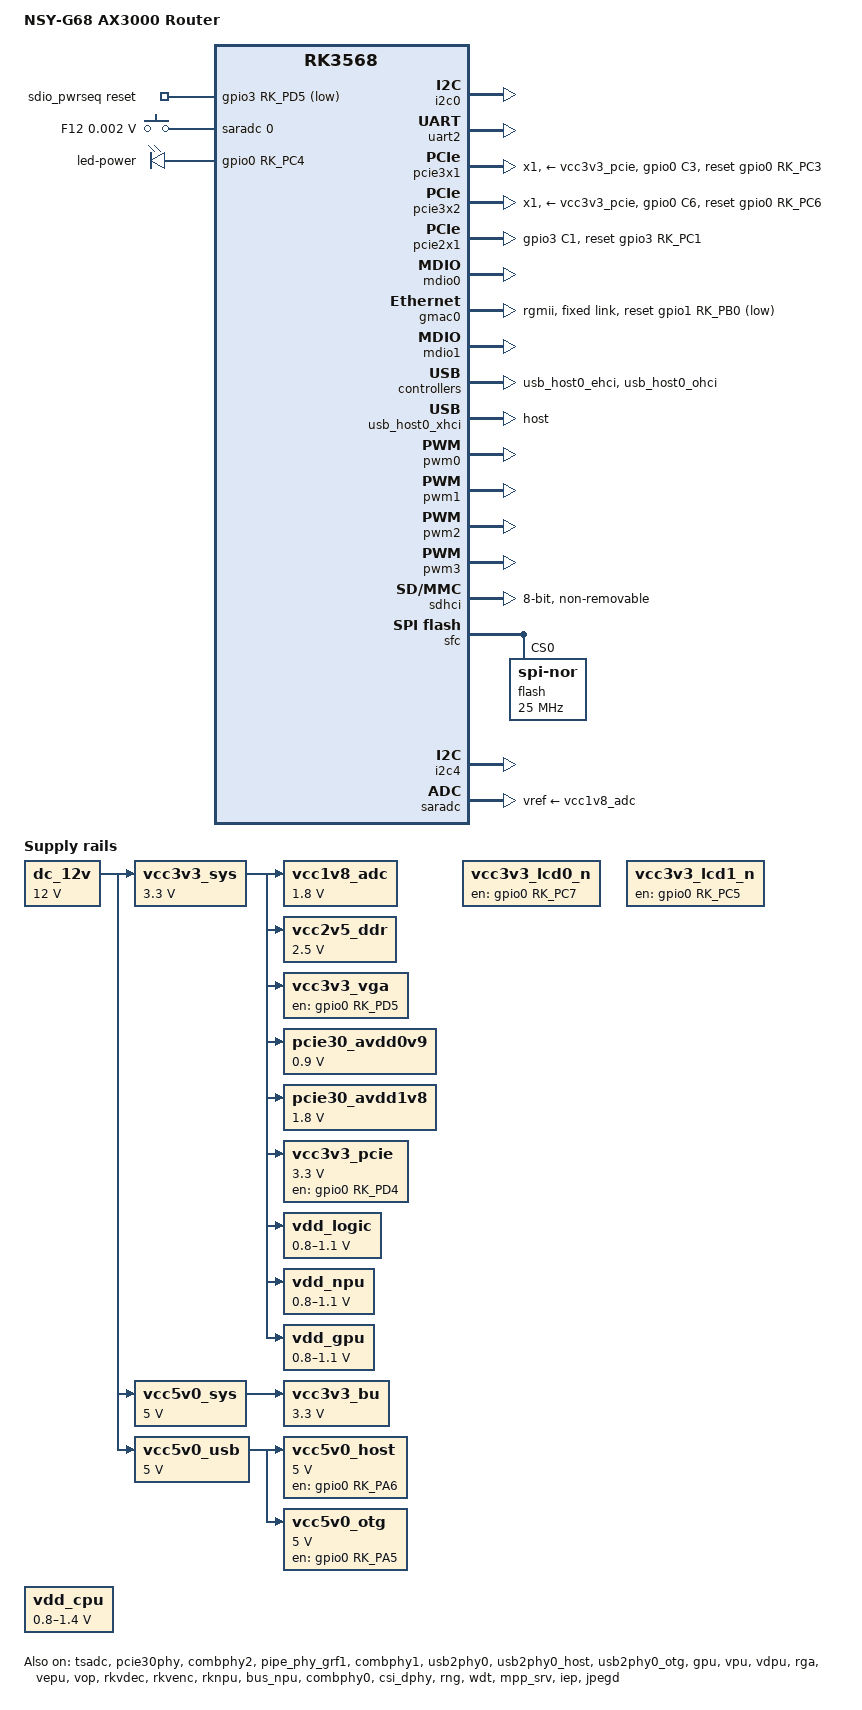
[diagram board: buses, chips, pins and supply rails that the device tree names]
// SPDX-License-Identifier: (GPL-2.0+ OR MIT)

/dts-v1/;

#include <dt-bindings/gpio/gpio.h>
#include <dt-bindings/pwm/pwm.h>
#include <dt-bindings/leds/common.h>
#include <dt-bindings/input/input.h>
#include <dt-bindings/soc/rockchip,vop2.h>
#include <dt-bindings/pinctrl/rockchip.h>
#include <rockchip/rk3568.dtsi>
#include "rk3568-ramoops.dtsi"
#include "rk3568-vngpu.dtsi"

/delete-node/ &gpu_opp_table;
/delete-node/ &rkvdec_opp_table;
/delete-node/ &rkvenc_opp_table;
/delete-node/ &npu_opp_table;
/delete-node/ &bus_npu_opp_table;

/ {
	model = "NSY-G68 AX3000 Router";
	compatible = "nsy,g68-plus", "rockchip,rk3568";

	aliases {
		ethernet0 = &gmac0;
		ethernet1 = &gmac1;
		mmc0 = &sdhci;
	};

	chosen: chosen {
		stdout-path = "serial2:1500000n8";
		bootargs = "earlycon=uart8250,mmio32,0xfe660000 console=ttyFI0 rootwait";
	};

reserved-memory {
		#address-cells = <2>;
		#size-cells = <2>;
		ranges;

		/* 1. 公共大池子：维持 512MB，作为系统默认，保证 SSD/WiFi 性能 */
		linux,cma {
			compatible = "shared-dma-pool";
			reusable;
			size = <0x0 0x20000000>; /* 512MB */
			linux,cma-default; /* 系统默认都会来这里抢 */
			alloc-ranges = <0x0 0x00000000 0x0 0xffffffff>;
		};

		/* 2. 多媒体专属特区：划出 128MB-256MB，不设为 default，防止被 SSD 抢走 */
		mpp_reserved: mpp-reserved {
			compatible = "shared-dma-pool";
			reusable;
			size = <0x0 0x10000000>; /* 256MB */
			alloc-ranges = <0x0 0x00000000 0x0 0xffffffff>;
		};
	};

	fiq-debugger {
		compatible = "rockchip,fiq-debugger";
		rockchip,serial-id = <2>;
		rockchip,wake-irq = <0>;
		/* If enable uart uses irq instead of fiq */
		rockchip,irq-mode-enable = <1>;
		rockchip,baudrate = <1500000>;  /* Only 115200 and 1500000 */
		interrupts = <GIC_SPI 252 IRQ_TYPE_LEVEL_LOW>;
		pinctrl-names = "default";
		pinctrl-0 = <&uart2m0_xfer>;
		status = "okay";
	};

	debug: debug@fd904000 {
		compatible = "rockchip,debug";
		reg = <0x0 0xfd904000 0x0 0x1000>,
			<0x0 0xfd905000 0x0 0x1000>,
			<0x0 0xfd906000 0x0 0x1000>,
			<0x0 0xfd907000 0x0 0x1000>;
	};

	dc_12v: dc-12v {
		compatible = "regulator-fixed";
		regulator-name = "dc_12v";
		regulator-always-on;
		regulator-boot-on;
		regulator-min-microvolt = <12000000>;
		regulator-max-microvolt = <12000000>;
	};

	vcc3v3_sys: vcc3v3-sys {
		compatible = "regulator-fixed";
		regulator-name = "vcc3v3_sys";
		regulator-always-on;
		regulator-boot-on;
		regulator-min-microvolt = <3300000>;
		regulator-max-microvolt = <3300000>;
		vin-supply = <&dc_12v>;
	};

	vcc5v0_sys: vcc5v0-sys {
		compatible = "regulator-fixed";
		regulator-name = "vcc5v0_sys";
		regulator-always-on;
		regulator-boot-on;
		regulator-min-microvolt = <5000000>;
		regulator-max-microvolt = <5000000>;
		vin-supply = <&dc_12v>;
	};

	vcc5v0_usb: vcc5v0-usb {
		compatible = "regulator-fixed";
		regulator-name = "vcc5v0_usb";
		regulator-always-on;
		regulator-boot-on;
		regulator-min-microvolt = <5000000>;
		regulator-max-microvolt = <5000000>;
		vin-supply = <&dc_12v>;
	};

	vcc5v0_host: vcc5v0-host-regulator {
		compatible = "regulator-fixed";
		regulator-name = "vcc5v0_host";
		regulator-boot-on;
		regulator-always-on;
		regulator-min-microvolt = <5000000>;
		regulator-max-microvolt = <5000000>;
		enable-active-high;
		gpio = <&gpio0 RK_PA6 GPIO_ACTIVE_HIGH>;
		vin-supply = <&vcc5v0_usb>;
		pinctrl-names = "default";
		pinctrl-0 = <&vcc5v0_host_en>;
	};

	vcc5v0_otg: vcc5v0-otg-regulator {
		compatible = "regulator-fixed";
		regulator-name = "vcc5v0_otg";
		regulator-min-microvolt = <5000000>;
		regulator-max-microvolt = <5000000>;
		enable-active-high;
		regulator-boot-on;
		regulator-always-on;
		gpio = <&gpio0 RK_PA5 GPIO_ACTIVE_HIGH>;
		vin-supply = <&vcc5v0_usb>;
		pinctrl-names = "default";
		pinctrl-0 = <&vcc5v0_otg_en>;
	};

	vcc3v3_lcd0_n: vcc3v3-lcd0-n {
		compatible = "regulator-fixed";
		regulator-name = "vcc3v3_lcd0_n";
		regulator-boot-on;
		gpio = <&gpio0 RK_PC7 GPIO_ACTIVE_HIGH>;
		enable-active-high;
		pinctrl-0 = <&vcc3v3_lcd0_n_en>;
		pinctrl-names = "default";
		regulator-state-mem {
			regulator-off-in-suspend;
		};

	};

	vcc3v3_lcd1_n: vcc3v3-lcd1-n {
		compatible = "regulator-fixed";
		regulator-name = "vcc3v3_lcd1_n";
		regulator-boot-on;
		gpio = <&gpio0 RK_PC5 GPIO_ACTIVE_HIGH>;
		enable-active-high;
		pinctrl-0 = <&vcc3v3_lcd1_n_en>;
		pinctrl-names = "default";
		regulator-state-mem {
			regulator-off-in-suspend;
		};

	};

	sdio_pwrseq: sdio-pwrseq {
		compatible = "mmc-pwrseq-simple";
		/* clocks = <&rk809 1>; */
		/* clock-names = "ext_clock"; */
		pinctrl-names = "default";
		pinctrl-0 = <&wifi_enable_h>;
		post-power-on-delay-ms = <200>;
		reset-gpios = <&gpio3 RK_PD5 GPIO_ACTIVE_LOW>;
	};

	vcc1v8_adc: vcc1v8-adc {
		compatible = "regulator-fixed";
		regulator-name = "vcc1v8_adc";
		regulator-always-on;
		regulator-boot-on;
		regulator-min-microvolt = <1800000>;
		regulator-max-microvolt = <1800000>;
		vin-supply = <&vcc3v3_sys>;
	};

	vcc2v5_ddr: vcc2v5-ddr {
		compatible = "regulator-fixed";
		regulator-name = "vcc2v5-sys";
		regulator-always-on;
		regulator-boot-on;
		regulator-min-microvolt = <2500000>;
		regulator-max-microvolt = <2500000>;
		vin-supply = <&vcc3v3_sys>;
	};

	vcc3v3_vga: vcc3v3-vga {
		compatible = "regulator-fixed";
		regulator-name = "vcc3v3_vga";
		regulator-always-on;
		regulator-boot-on;
		gpio = <&gpio0 RK_PD5 GPIO_ACTIVE_HIGH>;
		pinctrl-0 = <&vcc3v3_vga_en>;
		pinctrl-names = "default";
		enable-active-high;
		vin-supply = <&vcc3v3_sys>;
	};

	pcie30_avdd0v9: pcie30-avdd0v9 {
		compatible = "regulator-fixed";
		regulator-name = "pcie30_avdd0v9";
		regulator-always-on;
		regulator-boot-on;
		regulator-min-microvolt = <900000>;
		regulator-max-microvolt = <900000>;
		vin-supply = <&vcc3v3_sys>;
	};

	pcie30_avdd1v8: pcie30-avdd1v8 {
		compatible = "regulator-fixed";
		regulator-name = "pcie30_avdd1v8";
		regulator-always-on;
		regulator-boot-on;
		regulator-min-microvolt = <1800000>;
		regulator-max-microvolt = <1800000>;
		vin-supply = <&vcc3v3_sys>;
	};

	vcc3v3_pcie: vcc3v3-pcie {
		compatible = "regulator-fixed";
		regulator-name = "vcc3v3_pcie";
		regulator-always-on;
		regulator-boot-on;
		regulator-min-microvolt = <3300000>;
		regulator-max-microvolt = <3300000>;
		enable-active-high;
		gpio = <&gpio0 RK_PD4 GPIO_ACTIVE_HIGH>;
		pinctrl-0 = <&vcc3v3_pcie_en>;
		pinctrl-names = "default";
		startup-delay-us = <5000>;
		vin-supply = <&vcc3v3_sys>;
	};

	vcc3v3_bu: c3v3_buvcc3v3-bu {
		compatible = "regulator-fixed";
		regulator-name = "vcc3v3_bu";
		regulator-always-on;
		regulator-boot-on;
		regulator-min-microvolt = <3300000>;
		regulator-max-microvolt = <3300000>;
		vin-supply = <&vcc5v0_sys>;
	};

	vdd_logic: vdd-logic {
		compatible = "pwm-regulator";
		rockchip,pwm_id = <2>;
		pwms = <&pwm2 0 25000 1>;
		/* pwm-dutycycle-range = <0 100>; */
		regulator-name = "vdd_logic";
		regulator-min-microvolt = <800000>;
		regulator-max-microvolt = <1100000>;
		regulator-init-microvolt = <900000>;
		regulator-settling-time-up-us = <250>;
		regulator-enable-ramp-delay = <300>;

		voltage-table = <800000 0>, <900000 8250>, <1000000 16500>, <1100000 25000>;
		regulator-ramp-delay = <1000>;
		regulator-always-on;
		regulator-boot-on;
		vin-supply = <&vcc3v3_sys>;
	};

	vdd_npu: vdd-npu {
		compatible = "pwm-regulator";
		rockchip,pwm_id = <1>;
		pwms = <&pwm1 0 25000 1>;
		/* pwm-dutycycle-range = <0 100>; */
		regulator-name = "vdd_npu";
		regulator-compatible = "vdd_npu";
		regulator-min-microvolt = <800000>;
		regulator-max-microvolt = <1100000>;
		regulator-init-microvolt = <1000000>;
		regulator-settling-time-up-us = <250>;
		regulator-enable-ramp-delay = <300>;

		voltage-table = <800000 0>, <900000 8250>, <1000000 16500>, <1100000 25000>;
		regulator-ramp-delay = <1000>;
		regulator-always-on;
		regulator-boot-on;
		vin-supply = <&vcc3v3_sys>;
	};

	vdd_gpu: vdd-gpu {
		compatible = "pwm-regulator";
		rockchip,pwm_id = <3>;
		pwms = <&pwm3 0 25000 1>;
		/* pwm-dutycycle-range = <0 100>; */
		regulator-name = "vdd_gpu";
		regulator-min-microvolt = <800000>;
		regulator-max-microvolt = <1100000>;
		regulator-init-microvolt = <1000000>;
		regulator-settling-time-up-us = <250>;
		regulator-enable-ramp-delay = <300>;
		voltage-table = <800000 0>, <900000 8250>, <1000000 16500>, <1100000 25000>;
		regulator-ramp-delay = <1000>;
		regulator-always-on;
		regulator-boot-on;
		vin-supply = <&vcc3v3_sys>;
	};

	vdd_cpu: vdd-cpu {
		compatible = "pwm-regulator";
		rockchip,pwm_id = <0>;
		pwms = <&pwm0 0 25000 1>;
		pwm-dutycycle-range = <0 100>;
		regulator-name = "vdd_cpu";
		regulator-min-microvolt = <800000>;
		regulator-max-microvolt = <1400000>;
		regulator-init-microvolt = <1150000>;
		regulator-settling-time-up-us = <250>;
		regulator-enable-ramp-delay = <300>;
		regulator-ramp-delay = <8000>;
		regulator-always-on;
		regulator-boot-on;
	};

	xpcs: syscon@fda00000 {
		compatible = "rockchip,rk3568-xpcs", "syscon";
		reg = <0x0 0xfda00000 0x0 0x200000>;
		status = "disabled";
	};

	gmac0_xpcsclk: xpcs-gmac0-clock {
		compatible = "fixed-clock";
		clock-frequency = <125000000>;
		clock-output-names = "clk_gmac0_xpcs_mii";
		#clock-cells = <0>;
	};

	gmac1_xpcsclk: xpcs-gmac1-clock {
		compatible = "fixed-clock";
		clock-frequency = <125000000>;
		clock-output-names = "clk_gmac1_xpcs_mii";
		#clock-cells = <0>;
	};

	adc_keys: adc-keys {
		compatible = "adc-keys";
		io-channels = <&saradc 0>;
		io-channel-names = "buttons";
		keyup-threshold-microvolt = <1800000>;
		poll-interval = <100>;
		status = "okay";
		recovery-key {
			label = "F12";
			linux,code = <KEY_F12>;
			press-threshold-microvolt = <1750>;
		};
	};

	leds {
		compatible = "gpio-leds";
		led-power {
			label = "led-power";
			default-state = "on";
			gpios = <&gpio0 RK_PC4 GPIO_ACTIVE_HIGH>;
			pinctrl-names = "default";
			pinctrl-0 = <&led_power_en>;
		};
	};

	rtlgsw@0 {
		compatible = "realtek,rtl8367s";
		realtek,mdio = <&mdio0>;
		mii-bus = <&mdio0>;
		realtek,id = <29>;
		phy-id = <29>;
		cpu_port = <7>;

		//txdelay, rxdelay, mode, ability.force_mode, ability.txpause, ability.rxpause, ability.link, ability.duplex, speed
		//sgmii,
		realtek,extif1 = <0 0 11 1 1 1 1 1 2>;
		//rgmii
		realtek,extif2 = <0 0 1 1 1 1 1 1 2>;
		status = "okay";
	};

	gpu_opp_table: opp-table-1 {
		compatible = "operating-points-v2";
		// mbist-vmin = <825000 900000 950000>;
		// nvmem-cells = <&gpu_leakage>, <&mbist_vmin>, <&gpu_opp_info>, <&specification_serial_number>, <&remark_spec_serial_number>;
		// nvmem-cell-names = "leakage", "mbist-vmin", "opp-info", "specification_serial_number", "remark_spec_serial_number";
		// rockchip,supported-hw;
		rockchip,max-volt = <1000000>;
		rockchip,temp-hysteresis = <5000>;
		// rockchip,low-temp = <0>;
		// rockchip,low-temp-adjust-volt = <0 800 50000>;
		#opp-table-cells = <1>;

		opp-200000000 {
			// opp-supported-hw = <0xfb 0xffff>;
			opp-hz = /bits/ 64 <200000000>;
			opp-microvolt = <800000>;
		};

		/* opp-300000000 {
			// opp-supported-hw = <0xfb 0xffff>;
			opp-hz = /bits/ 64 <300000000>;
			opp-microvolt = <850000>;
		}; */

		/* opp-400000000 {
			// opp-supported-hw = <0xfb 0xffff>;
			opp-hz = /bits/ 64 <400000000>;
			opp-microvolt = <850000>;
		}; */

		opp-600000000 {
			// opp-supported-hw = <0xfb 0xffff>;
			opp-hz = /bits/ 64 <600000000>;
			opp-microvolt = <900000>;
			// opp-microvolt-L0 = <900000 900000 1000000>;
			// opp-microvolt-L1 = <875000 875000 1000000>;
			// opp-microvolt-L2 = <850000 850000 1000000>;
			// opp-microvolt-L3 = <850000 850000 1000000>;
		};

		/* opp-700000000 {
			// opp-supported-hw = <0xfb 0xffff>;
			opp-hz = /bits/ 64 <700000000>;
			opp-microvolt = <950000>;
			// opp-microvolt-L0 = <950000 950000 1000000>;
			// opp-microvolt-L1 = <925000 925000 1000000>;
			// opp-microvolt-L2 = <900000 900000 1000000>;
			// opp-microvolt-L3 = <875000 875000 1000000>;
		}; */

		opp-800000000 {
			// opp-supported-hw = <0xf9 0xffff>;
			opp-hz = /bits/ 64 <800000000>;
			opp-microvolt = <1000000>;
			// opp-microvolt-L0 = <1000000 1000000 1000000>;
			// opp-microvolt-L1 = <975000 975000 1000000>;
			// opp-microvolt-L2 = <950000 950000 1000000>;
			// opp-microvolt-L3 = <925000 925000 1000000>;
		};
	};

	rkvdec_opp_table: rkvdec-opp-table {
		compatible = "operating-points-v2";
		// nvmem-cells = <&log_leakage>;
		// nvmem-cell-names = "leakage";
		#opp-table-cells = <1>;

		opp-297000000 {
			opp-hz = /bits/ 64 <297000000>;
			opp-microvolt = <900000>;
			// opp-microvolt-L0 = <900000>;
			// opp-microvolt-L1 = <875000>;
		};
		opp-400000000 {
			opp-hz = /bits/ 64 <400000000>;
			opp-microvolt = <1000000>;
		};
	};

	rkvenc_opp_table: rkvenc-opp-table {
		compatible = "operating-points-v2";
		// nvmem-cells = <&log_leakage>;
		// nvmem-cell-names = "leakage";
		#opp-table-cells = <1>;

		opp-297000000 {
			opp-hz = /bits/ 64 <297000000>;
			opp-microvolt = <900000>;
			// opp-microvolt-L0 = <900000>;
			// opp-microvolt-L1 = <875000>;
			// opp-microvolt-L2 = <875000>;
		};
		opp-400000000 {
			opp-hz = /bits/ 64 <400000000>;
			opp-microvolt = <1000000>;
			// opp-microvolt-L0 = <950000>;
			// opp-microvolt-L1 = <925000>;
			// opp-microvolt-L2 = <900000>;
		};
	};

	npu_opp_table: npu-opp-table {
		compatible = "operating-points-v2";

		/* mbist-vmin = <825000 900000 950000>; */
		/* nvmem-cells = <&npu_leakage>, <&mbist_vmin>, <&npu_opp_info>, <&specification_serial_number>, <&remark_spec_serial_number>; */
		/* nvmem-cell-names = "leakage", "mbist-vmin", "opp-info", "specification_serial_number", "remark_spec_serial_number"; */
		/* rockchip,supported-hw; */
		rockchip,max-volt = <1100000>;
		rockchip,init-freq = <400000000>;
		/* rockchip,temp-hysteresis = <5000>; */
		/* rockchip,low-temp = <0>; */
		/* rockchip,low-temp-adjust-volt = <0 1000 50000>; */
		/* rockchip,init-freq = <900000>; */
		#opp-table-cells = <1>;

		/* RK3568 && RK3568M npu OPPs */
		opp-200000000 {
			/* opp-supported-hw = <0xfb 0xffff>; */
			opp-hz = /bits/ 64 <200000000>;
			opp-microvolt = <800000>;
		};

		opp-400000000 {
			/* opp-supported-hw = <0xfb 0xffff>; */
			opp-hz = /bits/ 64 <400000000>;
			opp-microvolt = <900000>;
		};
		opp-600000000 {
			/* opp-supported-hw = <0xfb 0xffff>; */
			opp-hz = /bits/ 64 <600000000>;
			opp-microvolt = <1000000>;
		};


	};

	bus_npu_opp_table: bus-npu-opp-table {
		compatible = "operating-points-v2";
		/* nvmem-cells = <&log_leakage>; */
		/* nvmem-cell-names = "leakage"; */
		#opp-table-cells = <1>;
		opp-shared;

		opp-700000000 {
			opp-hz = /bits/ 64 <700000000>;
			opp-microvolt = <900000>;
			/* opp-microvolt-L0 = <900000>; */
			/* opp-microvolt-L1 = <875000>; */
			/* opp-microvolt-L2 = <875000>; */
		};
		opp-900000000 {
			opp-hz = /bits/ 64 <900000000>;
			opp-microvolt = <900000>;
		};

	};
};

&i2c0 {

	status = "okay";

	rk809: pmic@20 {
		compatible = "rockchip,rk809";
		reg = <0x20>;
		status = "disabled"; /* 增加这一行 */
		interrupt-parent = <&gpio0>;
		interrupts = <RK_PA3 IRQ_TYPE_LEVEL_LOW>;
		pinctrl-names = "default", "pmic-sleep", "pmic-power-off", "pmic-reset";
		pinctrl-0 = <&pmic_int>;
		/* 删掉 rockchip,system-power-controller; 否则关机报 I2C 错误 */
		wakeup-source;
		#clock-cells = <1>;
		clock-output-names = "rk808-clkout1\0rk808-clkout2";
		pmic-reset-func = <0>;
		not-save-power-en = <1>;
		vcc1-supply = <&vcc3v3_sys>;
		vcc2-supply = <&vcc3v3_sys>;
		vcc3-supply = <&vcc3v3_sys>;
		vcc4-supply = <&vcc3v3_sys>;
		vcc5-supply = <&vcc3v3_sys>;
		vcc6-supply = <&vcc3v3_sys>;
		vcc7-supply = <&vcc3v3_sys>;
		vcc8-supply = <&vcc3v3_sys>;
		vcc9-supply = <&vcc3v3_sys>;

		regulators {

			vcc_ddr: DCDC_REG3 {
				regulator-always-on;
				regulator-boot-on;
				regulator-initial-mode = <2>;
				regulator-name = "vcc_ddr";

				regulator-state-mem {
					regulator-on-in-suspend;
				};
			};

			vdda0v9_image: LDO_REG1 {
				regulator-boot-on;
				regulator-always-on;
				regulator-min-microvolt = <900000>;
				regulator-max-microvolt = <900000>;
				regulator-name = "vdda0v9_image";

				regulator-state-mem {
					regulator-off-in-suspend;
				};
			};

			vdda_0v9: LDO_REG2 {
				regulator-always-on;
				regulator-boot-on;
				regulator-min-microvolt = <900000>;
				regulator-max-microvolt = <900000>;
				regulator-name = "vdda_0v9";

				regulator-state-mem {
					regulator-off-in-suspend;
				};
			};

			vdda0v9_pmu: LDO_REG3 {
				regulator-always-on;
				regulator-boot-on;
				regulator-min-microvolt = <900000>;
				regulator-max-microvolt = <900000>;
				regulator-name = "vdda0v9_pmu";

				regulator-state-mem {
					regulator-on-in-suspend;
					regulator-suspend-microvolt = <900000>;
				};
			};

			vccio_acodec: LDO_REG4 {
				regulator-always-on;
				regulator-boot-on;
				regulator-min-microvolt = <3000000>;
				regulator-max-microvolt = <3000000>;
				regulator-name = "vccio_acodec";

				regulator-state-mem {
					regulator-off-in-suspend;
				};
			};

			vccio_sd: LDO_REG5 {
				regulator-always-on;
				regulator-boot-on;
				regulator-min-microvolt = <1800000>;
				regulator-max-microvolt = <3300000>;
				regulator-name = "vccio_sd";

				regulator-state-mem {
					regulator-off-in-suspend;
				};
			};

			vcc3v3_pmu: LDO_REG6 {
				regulator-always-on;
				regulator-boot-on;
				regulator-min-microvolt = <3300000>;
				regulator-max-microvolt = <3300000>;
				regulator-name = "vcc3v3_pmu";

				regulator-state-mem {
					regulator-on-in-suspend;
					regulator-suspend-microvolt = <3300000>;
				};
			};

			vcca_1v8: LDO_REG7 {
				regulator-always-on;
				regulator-boot-on;
				regulator-min-microvolt = <1800000>;
				regulator-max-microvolt = <1800000>;
				regulator-name = "vcca_1v8";

				regulator-state-mem {
					regulator-off-in-suspend;
				};
			};

			vcca1v8_pmu: LDO_REG8 {
				regulator-always-on;
				regulator-boot-on;
				regulator-min-microvolt = <1800000>;
				regulator-max-microvolt = <1800000>;
				regulator-name = "vcca1v8_pmu";

				regulator-state-mem {
					regulator-on-in-suspend;
					regulator-suspend-microvolt = <1800000>;
				};
			};

			vcca1v8_image: LDO_REG9 {
				regulator-always-on;
				regulator-boot-on;
				regulator-min-microvolt = <1800000>;
				regulator-max-microvolt = <1800000>;
				regulator-name = "vcca1v8_image";

				regulator-state-mem {
					regulator-off-in-suspend;
				};
			};

			vcc_1v8: DCDC_REG5 {
				regulator-always-on;
				regulator-boot-on;
				regulator-min-microvolt = <1800000>;
				regulator-max-microvolt = <1800000>;
				regulator-name = "vcc_1v8";

				regulator-state-mem {
					regulator-off-in-suspend;
				};
			};

			vcc_3v3: SWITCH_REG1 {
				regulator-always-on;
				regulator-boot-on;
				regulator-name = "vcc_3v3";

				regulator-state-mem {
					regulator-off-in-suspend;
				};
			};

			vcc3v3_sd: SWITCH_REG2 {
				regulator-always-on;
				regulator-boot-on;
				regulator-name = "vcc3v3_sd";

				regulator-state-mem {
					regulator-off-in-suspend;
				};
			};
		};
	};
};

&pinctrl {
	usb {
		vcc5v0_host_en: vcc5v0-host-en {
			rockchip,pins = <0 RK_PA6 RK_FUNC_GPIO &pcfg_pull_none>;
		};
		
		vcc5v0_otg_en: vcc5v0-otg-en {
			rockchip,pins = <0 RK_PA5 RK_FUNC_GPIO &pcfg_pull_none>;
		};
	};

	regulator-en {
		vcc3v3_lcd0_n_en: vcc3v3-lcd0-n-en {
			rockchip,pins = <0 RK_PC7 RK_FUNC_GPIO &pcfg_pull_none>;
		};
		vcc3v3_lcd1_n_en: vcc3v3-lcd1-n-en {
			rockchip,pins = <0 RK_PC5 RK_FUNC_GPIO &pcfg_pull_none>;
		};
		vcc3v3_vga_en: vcc3v3-vga-en {
			rockchip,pins = <0 RK_PD5 RK_FUNC_GPIO &pcfg_pull_none>;
		};
		vcc3v3_pcie_en: vcc3v3-pcie-en {
			rockchip,pins = <0 RK_PD4 RK_FUNC_GPIO &pcfg_pull_none>;
		};
	};

	sdio-pwrseq {
		wifi_enable_h: wifi-enable-h {
			rockchip,pins = <3 RK_PD5 RK_FUNC_GPIO &pcfg_pull_none>;
		};
	};

	pmic {
	
		pmic_int: pmic-intl {
			rockchip,pins = <0 RK_PA3 RK_FUNC_GPIO &pcfg_pull_up>;
		};
	
		soc_slppin_gpio: soc-slppin-gpio {
			rockchip,pins = <0 RK_PA2 0 &pcfg_output_low>;
		};
	
		soc_slppin_slp: soc-slppin-slp {
			rockchip,pins = <0 RK_PA2 1 &pcfg_pull_none>;
		};
	
		soc_slppin_rst {
			rockchip,pins = <0 RK_PA2 2 &pcfg_pull_none>;
		};
	};

	pcie {
		pcie30x1_reset_h: pcie30x1-reset-h {
			rockchip,pins = <0 RK_PC3 RK_FUNC_GPIO &pcfg_pull_none>;
		};
		pcie30x2_reset_h: pcie30x2-reset-h {
			rockchip,pins = <0 RK_PC6 RK_FUNC_GPIO &pcfg_pull_none>;
		};
		pcie2x1_reset_h: pcie2x1-reset-h {
			rockchip,pins = <3 RK_PC1 RK_FUNC_GPIO &pcfg_pull_none>;
		};
	};

	gmac-reset {
		gmac0_reset: gmac0-reset {
			rockchip,pins = <1 RK_PB0 RK_FUNC_GPIO &pcfg_pull_none>;
		};
		gmac1_reset: gmac1-reset {
			rockchip,pins = <1 RK_PB1 RK_FUNC_GPIO &pcfg_pull_none>;
		};
	};

	leds {
		led_power_en: led-power-en {
			rockchip,pins = <0 RK_PC4 RK_FUNC_GPIO &pcfg_pull_none>;
		};
	};
};

&cpu0 {
	cpu-supply = <&vdd_cpu>;
};

&cpu1 {
	cpu-supply = <&vdd_cpu>;
};

&cpu2 {
	cpu-supply = <&vdd_cpu>;
};

&cpu3 {
	cpu-supply = <&vdd_cpu>;
};

&tsadc {
	rockchip,hw-tshut-mode = <1>;
	rockchip,hw-tshut-polarity = <0>;
	status = "okay";
};

&uart2 {
	status = "okay";
};

&pcie30_phy_grf {
};

// 注意两条 pcie reset gpio 均与 NSY不同
// fe270000
// 这里需要更换uboot版本,因为只有支持的pcie拆分的才能启动这个
// 不然开启就挂死,更换版本:https://github.com/Kwiboo/u-boot-rockchip
// https://lists.denx.de/pipermail/u-boot/2023-August/525793.html
// 这个pcie,可能需要打补丁,使用radxa 版本
&pcie3x1 {
		vpcie3v3-supply = <&vcc3v3_pcie>;
		reset-gpios = <&gpio0 RK_PC3 GPIO_ACTIVE_HIGH>;
		num-lanes = <0x1>; /*可能不生效,但是拆分需要打补丁,如果是吧,打补丁*/
		pinctrl-0 = <&pcie30x1_reset_h>;
		status = "okay";
};

//fe280000
&pcie3x2 {
		vpcie3v3-supply = <&vcc3v3_pcie>;
		reset-gpios = <&gpio0 RK_PC6 GPIO_ACTIVE_HIGH>;
		num-lanes = <0x1>;
		pinctrl-0 = <&pcie30x2_reset_h>;
		rockchip,perst-inactive-ms = <500>;
		status = "okay";
};

&pcie30phy {
		data-lanes = <1 2>; //配置lan的通道树
		status = "okay";
};

&combphy2 {
		status = "okay";
};

&pcie2x1 {
		reset-gpios = <&gpio3 RK_PC1 GPIO_ACTIVE_HIGH>;
		pinctrl-0 = <&pcie2x1_reset_h>;
		//for kernel.dts
		rockchip,perst-inactive-ms = <500>;
		status = "okay";
};

&mdio0 {
	status = "okay";
};

&gmac0 {
	status = "okay";
	phy-mode = "rgmii";
	snps,reset-gpio = <&gpio1 RK_PB0 GPIO_ACTIVE_LOW>;
	snps,reset-active-low;
	snps,reset-delays-us = <0 20000 100000>;
	assigned-clocks = <&cru SCLK_GMAC0_RX_TX &cru SCLK_GMAC0>;
	assigned-clock-parents = <&cru SCLK_GMAC0_RGMII_SPEED>;
	assigned-clock-rates = <0 125000000>;
	tx_delay = <0x3f>;
	rx_delay = <0x2c>;
	clock_in_out = "output";
	pinctrl-names = "default";
	pinctrl-0 = <&gmac0_miim &gmac0_tx_bus2 &gmac0_rx_bus2 &gmac0_rgmii_clk &gmac0_rgmii_bus>;
	fixed-link {
		speed = <1000>;
		full-duplex;
	};
};

&mdio1 {
	status = "okay";
};

&pipe_phy_grf1 {
	status = "okay";
};

&combphy1 {
	rockchip,sgmii-mac-sel = <1>;
	status = "okay";
};

&xpcs {
	status = "disabled";
};

&gmac1 {
	status = "disabled";
	phy-mode = "sgmii";
	rockchip,pipegrf = <&pipegrf>;
	rockchip,xpcs = <&xpcs>;
	//snps,reset-gpio = <&gpio2 RK_PC2 GPIO_ACTIVE_LOW>;
	//snps,reset-active-low;
	//snps,reset-delays-us = <0 20000 100000>;
	assigned-clocks = <&cru SCLK_GMAC1_RX_TX>;
	assigned-clock-parents = <&gmac1_xpcsclk>;
	pinctrl-names = "default";
	pinctrl-0 = <&gmac1m1_miim>;
	power-domains = <&power RK3568_PD_PIPE>;
	phys = <&combphy1 PHY_TYPE_SGMII>;
	fixed-link {
		speed = <1000>;
		full-duplex;
	};
};

&usb_host0_ehci {
	status = "okay";
};

&usb_host0_ohci {
	status = "okay";
	snps,dis_enblslpm_quirk;
	snps,dis-u1-entry-quirk;
	snps,dis-u2-entry-quirk;
	snps,dis-u2-freeclk-exists-quirk;
	snps,dis-del-phy-power-chg-quirk;
	snps,dis-tx-ipgap-linecheck-quirk;
	snps,dis_rxdet_inp3_quirk;
	snps,xhci-trb-ent-quirk;
	snps,parkmode-disable-ss-quirk;
	quirk-skip-phy-init;
};

&usb_host0_xhci {
	dr_mode = "host";//自动检测
	//extcon = <&combphy0>;
	status = "okay";
	extcon = <&usb2phy0>; //超过rxda测试
	snps,dis_enblslpm_quirk;
	snps,dis-u1-entry-quirk;
	snps,dis-u2-entry-quirk;
	snps,dis-u2-freeclk-exists-quirk;
	snps,dis-del-phy-power-chg-quirk;
	snps,dis-tx-ipgap-linecheck-quirk;
	snps,dis_rxdet_inp3_quirk;
	snps,xhci-trb-ent-quirk;
	snps,parkmode-disable-ss-quirk;
	quirk-skip-phy-init;
};

&usb_host1_ehci {
	status = "disabled";
};

&usb_host1_ohci {
	status = "disabled";
};

&usb_host1_xhci {
	dr_mode = "host";//自动检测
	snps,dis_enblslpm_quirk;
	snps,dis-u2-freeclk-exists-quirk;
	snps,dis-del-phy-power-chg-quirk;
	snps,dis-tx-ipgap-linecheck-quirk;
	snps,dis_rxdet_inp3_quirk;
	snps,xhci-trb-ent-quirk;
	snps,parkmode-disable-ss-quirk;
	status = "disabled";
};

&usb2phy0 {
	status = "okay";
};

&usb2phy0_host {
	phy-supply = <&vcc5v0_host>;
	status = "okay";
};

&usb2phy0_otg {
	phy-supply = <&vcc5v0_otg>;
	status = "okay";
};

&usb2phy1 {
	status = "disabled";
};

&usb2phy1_host {
	phy-supply = <&vcc5v0_host>;
	status = "disabled";
};

&usb2phy1_otg {
	phy-supply = <&vcc5v0_host>;
	status = "disabled";
};

&sata2 {
	status = "disabled";
};

&pmu_io_domains {
	status = "okay";
	pmuio2-supply = <&vcc3v3_sys>;
	vccio1-supply = <&vcc1v8_adc>;
	vccio3-supply = <&vcc3v3_sys>;
	vccio4-supply = <&vcc1v8_adc>;
	vccio5-supply = <&vcc3v3_sys>;
	vccio6-supply = <&vcc3v3_sys>;
	vccio7-supply = <&vcc3v3_sys>;
};

&pwm0 {
	status = "okay";
};

&pwm1 {
	pinctrl-names = "default";
	status = "okay";
};

&pwm2 {
	pinctrl-names = "default";
	status = "okay";
};

&pwm3 {
	pinctrl-names = "default";
	status = "okay";
};

&power {
	status = "okay";
};

&gpu {
	operating-points-v2 = <&gpu_opp_table>;
	power-off-delay-ms = <20>;
	mali-supply = <&vdd_gpu>;
	status = "okay";
};

&vpu {
	status = "okay";
};

&vdpu {
	status = "okay";
};

&vdpu_mmu {
	status = "okay";
};

&rga {
	status = "okay";
};

&vepu {
	status = "okay";
};

&vepu_mmu {
	status = "okay";
};

&vop {
	status = "okay";
};

&rkvdec {
	operating-points-v2 = <&rkvdec_opp_table>;
	vdec-supply = <&vdd_logic>;
	status = "okay";
	memory-region = <&mpp_reserved>;
	
	/* 补全复位信号名称 */
	resets = <&cru SRST_A_RKVDEC>, <&cru SRST_H_RKVDEC>,
			 <&cru SRST_RKVDEC_CA>, <&cru SRST_RKVDEC_CORE>,
			 <&cru SRST_RKVDEC_HEVC_CA>,
			 <&cru SRST_A_VPU_NIU>, <&cru SRST_H_VPU_NIU>;
	
	reset-names = "video_a", "video_h", "video_cabac",
					"video_core", "video_hevc_cabac",
					"shared_niu_a", "shared_niu_h";
};

&rkvdec_mmu {
	status = "okay";
};

&rkvenc {
	operating-points-v2 = <&rkvenc_opp_table>;
	venc-supply = <&vdd_logic>;
	status = "okay";
};

&rkvenc_mmu {
	status = "okay";
};

&rknpu {

	reg = <0x0 0xfde40000 0x0 0x10000>;
	interrupts = <GIC_SPI 151 IRQ_TYPE_LEVEL_HIGH>;
	interrupt-names = "npu_irq";
	operating-points-v2 = <&npu_opp_table>;
	clocks = <&cru CLK_NPU>, <&cru ACLK_NPU>, <&cru HCLK_NPU>;
	clock-names = "clk", "aclk", "hclk";

    /delete-property/ nvmem-cells;
    /delete-property/ nvmem-cell-names;

	rknpu-supply = <&vdd_npu>;
	iommus = <&rknpu_mmu>;
	status = "okay";
};

&rknpu_mmu {
	status = "okay";
};

&bus_npu {
	operating-points-v2 = <&bus_npu_opp_table>;
	bus-supply = <&vdd_logic>;
	pvtm-supply = <&vdd_cpu>;
	status = "okay";
};

//sdhci@fe310000
&sdhci {
	max-frequency = <200000000>;
	bus-width = <8>;
	no-sdio;
	no-sd;
	supports-emmc;
	non-removable;
	mmc-hs200-1_8v;
	pinctrl-names = "default";
	pinctrl-0 = <&emmc_bus8 &emmc_clk &emmc_cmd &emmc_datastrobe>;
	status = "okay";
};

//dwmmc@fe000000
&sdmmc2 {
	max-frequency = <150000000>;
	fifo-depth = <256>;
	no-sd;
	no-mmc;
	bus-width = <4>;
	disable-wp;
	cap-sd-highspeed;
	cap-sdio-irq;
	keep-power-in-suspend;
	sd-uhs-sdr104;
	mmc-pwrseq = <&sdio_pwrseq>;
	non-removable;
	pinctrl-names = "default";
	pinctrl-0 = <&sdmmc2m0_bus4 &sdmmc2m0_cmd &sdmmc2m0_clk>;
	status = "disabled";
};

//dwmmc@fe2b0000
&sdmmc0 {
	max-frequency = <150000000>;
	fifo-depth = <256>;
	no-sdio;
	bus-width = <4>;
	cap-mmc-highspeed;
	cap-sd-highspeed;
	disable-wp;
	sd-uhs-sdr104;
	vmmc-supply = <&vcc3v3_sd>;
	vqmmc-supply = <&vccio_sd>;
	pinctrl-names = "default";
	pinctrl-0 = <&sdmmc0_bus4 &sdmmc0_clk &sdmmc0_cmd &sdmmc0_det>;
	status = "disabled";
};

&combphy0 {
	status = "okay";
};

&csi_dphy {
	status = "okay";
};

&sfc {
	status = "okay";

	flash@0 {
		compatible = "spi-nor";
		reg = <0>;
		spi-max-frequency = <25000000>;
		spi-rx-bus-width = <4>;
		spi-tx-bus-width = <1>;
	};
};

&rng {
	status = "okay";
};

//i2c@fe5a0000
&i2c1 {
	status = "disabled";
};

&i2c4 {
	status = "okay";
};

&i2c5 {
	status = "disabled";
};

&wdt {
	status = "okay";
};

&uart8 {
	status = "disabled";
};

&pwm4 {
	status = "disabled";
};

&pwm5 {
	status = "disabled";
};

&pwm7 {
	status = "disabled";
};

&pwm8 {
	status = "disabled";
};

&pwm9 {
	status = "disabled";
};

//fe720000
&saradc {
	status = "okay";
	vref-supply = <&vcc1v8_adc>;
};

&mpp_srv {
	status = "okay";
	memory-region = <&mpp_reserved>;
};

&iep {
	status = "okay";
	memory-region = <&mpp_reserved>;
};

&iep_mmu {
	status = "okay";
};

&jpegd {
	status = "okay";
};

&jpegd_mmu {
	status = "okay";
};
